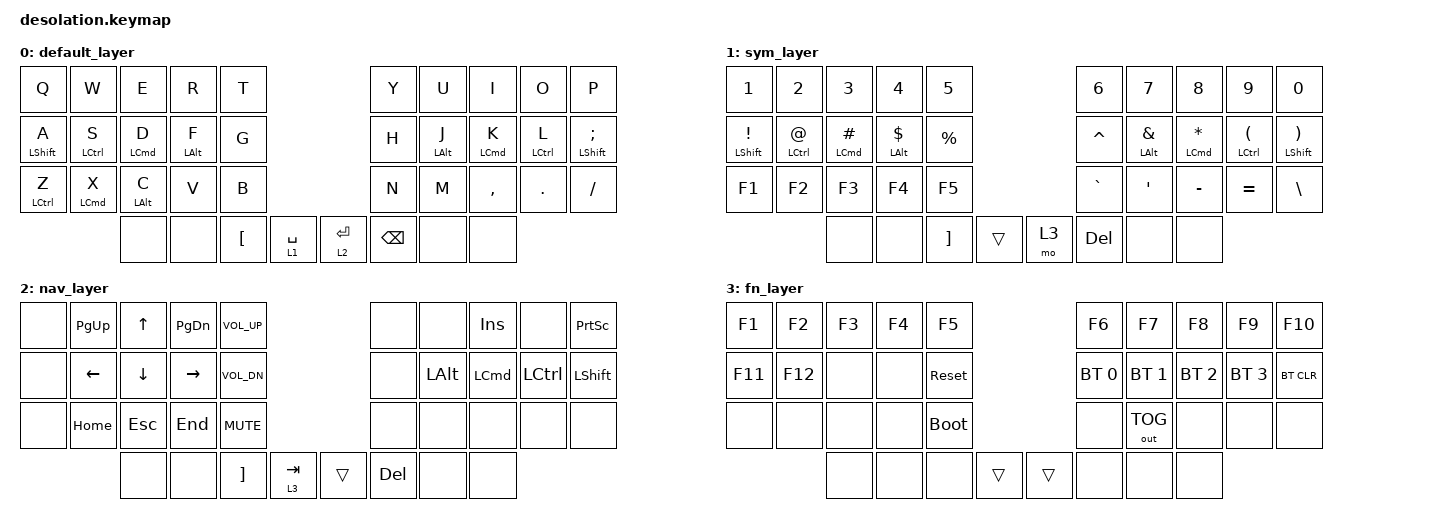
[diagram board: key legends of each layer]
/*
 * Copyright (c) 2024 Travis Mick
 *
 * SPDX-License-Identifier: MIT
 */

#include <behaviors.dtsi>
#include <dt-bindings/zmk/keys.h>
#include <dt-bindings/zmk/bt.h>
#include <dt-bindings/zmk/outputs.h>

&mt {
    flavor = "balanced";
    tapping-term-ms = <200>;
};

&lt {
    flavor = "balanced";
    tapping-term-ms = <200>;
};

/ {
    keymap {
        compatible = "zmk,keymap";

        default_layer {
            bindings = <
                      &kp Q          &kp W        &kp E         &kp R         &kp T                                  &kp Y        &kp U         &kp I         &kp O          &kp P   
                      &mt LSHFT A    &mt LCTRL S  &mt LCMD D    &mt LALT F    &kp G                                  &kp H        &mt LALT J    &mt LCMD K    &mt LCTRL L    &mt LSHFT SEMI
                      &mt LCTRL Z    &mt LCMD X   &mt LALT C    &kp V         &kp B                                  &kp N        &kp M         &kp COMMA     &kp DOT        &kp FSLH
                                                  &none         &none         &kp LBKT   &lt 1 SPACE    &lt 2 ENTER  &kp BSPC     &none         &none
            >;
        };

        sym_layer {
            bindings = <
                      &kp N1         &kp N2       &kp N3        &kp N4        &kp N5                                 &kp N6       &kp N7        &kp N8        &kp N9         &kp N0   
                      &mt LSHFT EXCL &mt LCTRL AT &mt LCMD HASH &mt LALT DLLR &kp PRCNT                              &kp CARET    &mt LALT AMPS &mt LCMD STAR &mt LCTRL LPAR &mt LSHFT RPAR
                      &kp F1         &kp F2       &kp F3        &kp F4        &kp F5                                 &kp GRAVE    &kp APOS      &kp MINUS     &kp EQUAL      &kp BSLH
                                                  &none         &none         &kp RBKT   &trans         &mo 3        &kp DEL     &none         &none
            >;
        };

        nav_layer {
            bindings = <
                      &none          &kp PG_UP    &kp UP        &kp PG_DN     &kp C_VOL_UP                            &none        &none         &kp INS       &none          &kp PSCRN
                      &none          &kp LEFT     &kp DOWN      &kp RIGHT     &kp C_VOL_DN                            &none        &kp LALT      &kp LCMD      &kp LCTRL      &kp LSHFT
                      &none          &kp HOME     &kp ESC       &kp END       &kp C_MUTE                              &none        &none         &none         &none          &none
                                                  &none         &none         &kp RBKT   &lt 3 TAB       &trans       &kp DEL     &none         &none
            >;
        };

        fn_layer {
            bindings = <
                      &kp F1         &kp F2       &kp F3        &kp F4        &kp F5                                   &kp F6       &kp F7        &kp F8        &kp F9         &kp F10
                      &kp F11        &kp F12      &none         &none         &sys_reset                               &bt BT_SEL 0 &bt BT_SEL 1  &bt BT_SEL 2  &bt BT_SEL 3   &bt BT_CLR
                      &none          &none        &none         &none         &bootloader                              &none        &out OUT_TOG  &none         &none          &none
                                                  &none         &none         &none         &trans        &trans       &none        &none         &none
            >;
        };

    };
};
